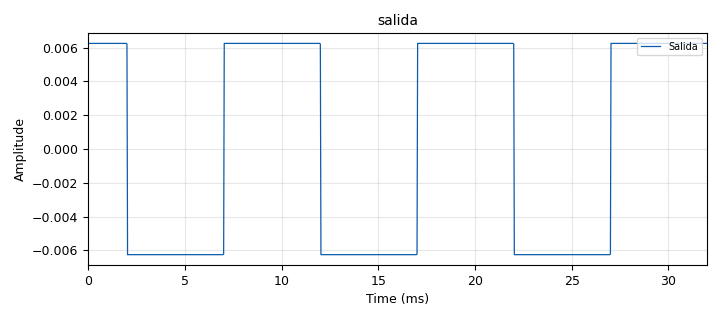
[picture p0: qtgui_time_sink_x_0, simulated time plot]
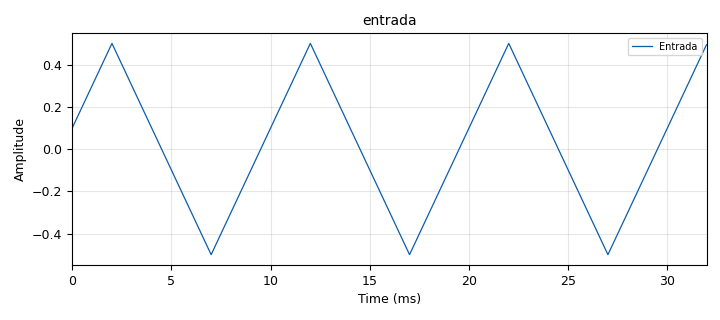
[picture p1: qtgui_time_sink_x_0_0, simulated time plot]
options:
  parameters:
    author: manue
    generate_options: qt_gui
    id: P1Sebastian
    output_language: python
    title: Not titled yet
  states: {}

blocks:
- name: samp_rate
  id: variable
  parameters:
    value: '32000'
  states: {}
- name: analog_sig_source_x_0
  id: analog_sig_source_x
  parameters:
    amp: '1'
    freq: '100'
    offset: '-0.5'
    phase: '0'
    samp_rate: samp_rate
    type: float
    waveform: analog.GR_TRI_WAVE
  states: {}
- name: epy_block_0_0
  id: epy_block
  parameters:
    _source_code: |-
      from gnuradio import gr
      import numpy as np

      class blk(gr.sync_block):
          def __init__(self):
              gr.sync_block.__init__(self,
                  name="Diferenciador",
                  in_sig=[np.float32],
                  out_sig=[np.float32])
              
              # CAMBIO 1: Variable movida al lugar correcto (dentro de __init__)
              self.acum_anterior = 0.0
              
              # MEJORA: Variable para detectar cambios bruscos
              self.ultimo_valor = 0.0

          def work(self, input_items, output_items):
              x = input_items[0]  # señal de entrada
              y = output_items[0]  # señal diferenciada
              
              for i in range(len(x)):
                  # CAMBIO 2: Cálculo correcto del diferenciador
                  # Original: diff = np.cumsum(x) - self.acum_anterior (incorrecto)
                  # Ahora: diferencia muestra a muestra
                  y[i] = x[i] - self.acum_anterior
                  self.acum_anterior = x[i]
              
              # MEJORA: Detectar si hubo un cambio muy brusco
              if abs(x[0] - self.ultimo_valor) > 10.0:
                  print(f"⚠️ Cambio brusco detectado: {abs(x[0] - self.ultimo_valor):.2f}")
              
              self.ultimo_valor = x[-1]  # Guardar último valor para próxima vez
              
              return len(y)
  states: {}
- name: qtgui_time_sink_x_0
  id: qtgui_time_sink_x
  parameters:
    autoscale: 'True'
    label1: Salida
    name: salida
    size: '1024'
    srate: samp_rate
    type: float
  states: {}
- name: qtgui_time_sink_x_0_0
  id: qtgui_time_sink_x
  parameters:
    autoscale: 'True'
    color1: red
    label1: Entrada
    name: entrada
    size: '1024'
    srate: samp_rate
    type: float
  states: {}

connections:
- [analog_sig_source_x_0, '0', epy_block_0_0, '0']
- [analog_sig_source_x_0, '0', qtgui_time_sink_x_0_0, '0']
- [epy_block_0_0, '0', qtgui_time_sink_x_0, '0']

metadata:
  file_format: 1
  grc_version: 3.10.12.0
